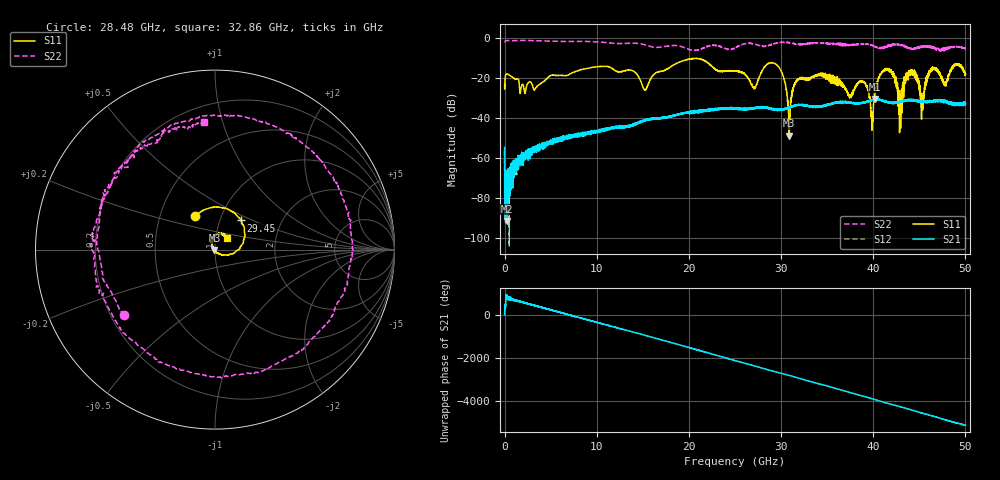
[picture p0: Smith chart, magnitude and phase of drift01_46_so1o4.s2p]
!Created with skrf (http://scikit-rf.org).
# Hz S RI R 50.0
!freq ReS11 ImS11 ReS21 ImS21 ReS12 ImS12 ReS22 ImS22
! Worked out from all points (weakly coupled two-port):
!   10001 points, 300 kHz to 50 GHz, reference 50 ohm
!   highest |S21| = -30.61 dB at 40.22 GHz (marker M1); lowest = -91.7 dB at 285.3 MHz (marker M2)
!   lowest |S11| = -49.0 dB at 30.89 GHz (marker M3), VSWR 1.01, Z = 49.7 - j0.173 ohm
!   |S11| at or under -10 dB: start of sweep to end of sweep
!   |S22| runs from -6.9 to -1.4 dB; largest |S21 - S12| = 0.0042
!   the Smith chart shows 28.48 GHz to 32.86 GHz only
!   S11 on the Smith chart (normalised r, x): 28.48 GHz: 0.75, +0.29; 29.45 GHz: 1.26, +0.43; 32.86 GHz: 1.14, +0.15
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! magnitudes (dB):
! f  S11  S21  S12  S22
! 300 kHz  -23.3  -54.9  -56.5  -2.1
! 285.3 MHz  -18.2  -91.7  -72.0  -1.4
! 2.82 GHz  -22.2  -57.0  -56.6  -1.4
! 8.335 GHz  -15.9  -48.4  -48.2  -1.8
! 15.23 GHz  -26.2  -41.1  -41.2  -3.6
! 16.67 GHz  -17.1  -40.0  -40.3  -4.8
! 25 GHz  -16.7  -35.3  -35.4  -5.1
! 27.11 GHz  -25.1  -35.1  -35.3  -3.2
! 28.48 GHz  -13.3  -34.8  -35.0  -4.1
! 29.45 GHz  -13.2  -35.9  -36.0  -2.7
! 30.89 GHz  -49.0  -34.8  -34.9  -2.5
! 32.86 GHz  -20.5  -34.2  -34.1  -2.9
! 33.34 GHz  -19.8  -34.6  -34.4  -2.7
! 38.92 GHz  -22.2  -32.5  -32.6  -3.0
! 39.83 GHz  -38.1  -31.3  -31.3  -3.8
! 40.22 GHz  -26.3  -30.6  -30.9  -4.4
! 41.67 GHz  -16.4  -32.4  -32.4  -4.3
! 42.91 GHz  -29.8  -32.2  -32.0  -3.5
! 44.07 GHz  -17.3  -31.2  -31.3  -5.3
! 45.31 GHz  -32.6  -31.9  -32.0  -4.4
! 46.45 GHz  -15.6  -31.7  -31.8  -4.7
! 50 GHz  -18.0  -32.5  -33.3  -5.4
